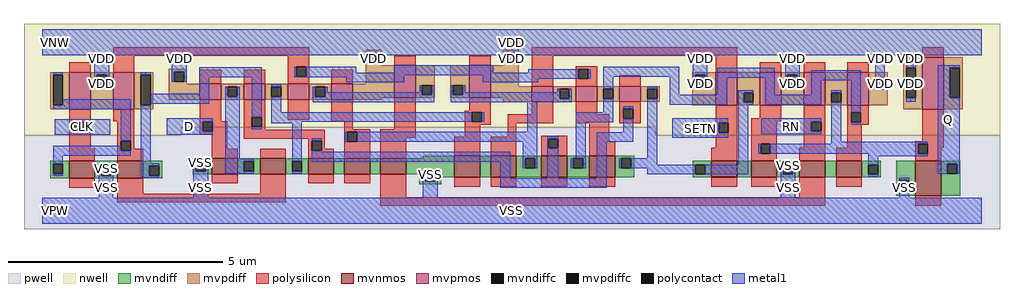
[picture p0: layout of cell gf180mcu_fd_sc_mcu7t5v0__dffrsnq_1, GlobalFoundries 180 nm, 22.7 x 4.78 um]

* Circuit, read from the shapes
.subckt gf180mcu_fd_sc_mcu7t5v0__dffrsnq_1 D RN SETN CLK Q VDD VNW VPW VSS
XM1 VSS CLK n1 VPW nfet_06v0 w=0.405u l=0.6u
XM2 n2 n1 VSS VPW nfet_06v0 w=0.405u l=0.6u
XM3 n3 D VSS VPW nfet_06v0 w=0.365u l=0.6u
XM4 n4 n1 n3 VPW nfet_06v0 w=0.365u l=0.6u
XM5 n5 n2 n4 VPW nfet_06v0 w=0.365u l=0.6u
XM6 n6 n7 n5 VPW nfet_06v0 w=0.365u l=0.6u
XM7 VSS RN n6 VPW nfet_06v0 w=0.365u l=0.6u
XM8 n8 n4 VSS VPW nfet_06v0 w=0.505u l=0.6u
XM9 n7 SETN n8 VPW nfet_06v0 w=0.505u l=0.6u
XM10 n9 n2 n7 VPW nfet_06v0 w=0.505u l=0.6u
XM11 n10 n1 n9 VPW nfet_06v0 w=0.505u l=0.6u
XM12 n11 SETN n10 VPW nfet_06v0 w=0.38u l=0.6u
XM13 VSS n12 n11 VPW nfet_06v0 w=0.38u l=0.6u
XM14 n13 RN VSS VPW nfet_06v0 w=0.38u l=0.6u
XM15 n12 n9 n13 VPW nfet_06v0 w=0.38u l=0.6u
XM16 Q n12 VSS VPW nfet_06v0 w=0.815u l=0.6u
XM17 VDD CLK n1 VNW pfet_06v0 w=0.865u l=0.5u
XM18 n2 n1 VDD VNW pfet_06v0 w=0.865u l=0.5u
XM19 n3 D VDD VNW pfet_06v0 w=0.365u l=0.5u
XM20 n4 n2 n3 VNW pfet_06v0 w=0.365u l=0.5u
XM21 n14 n1 n4 VNW pfet_06v0 w=0.365u l=0.5u
XM22 VDD n7 n14 VNW pfet_06v0 w=0.365u l=0.5u
XM23 n14 RN VDD VNW pfet_06v0 w=0.755u l=0.5u
XM24 VDD n4 n7 VNW pfet_06v0 w=0.755u l=0.5u
XM25 n7 SETN VDD VNW pfet_06v0 w=0.36u l=0.5u
XM26 n9 n1 n7 VNW pfet_06v0 w=0.36u l=0.5u
XM27 n10 n2 n9 VNW pfet_06v0 w=0.36u l=0.5u
XM28 n10 SETN VDD VNW pfet_06v0 w=0.77u l=0.5u
XM29 VDD n12 n10 VNW pfet_06v0 w=0.77u l=0.5u
XM30 n12 RN VDD VNW pfet_06v0 w=0.77u l=0.5u
XM31 VDD n9 n12 VNW pfet_06v0 w=0.77u l=0.5u
XM32 Q n12 VDD VNW pfet_06v0 w=1.215u l=0.5u
.ends

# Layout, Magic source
magic
tech gf180mcuD
magscale 1 10
<< nwell >>
rect -86 388 4454 870
rect -86 352 645 388
rect 2851 352 4454 388
<< pwell >>
rect 645 352 2851 388
rect -86 -86 4454 352
<< mvnmos >>
rect 124 151 244 232
rect 348 151 468 232
rect 788 171 908 244
rect 1012 171 1132 244
rect 1236 171 1356 244
rect 1404 171 1524 244
rect 1572 171 1692 244
rect 1916 156 2036 257
rect 2084 156 2204 257
rect 2320 156 2440 257
rect 2544 156 2664 257
rect 3112 156 3232 232
rect 3296 156 3416 232
rect 3520 156 3640 232
rect 3692 156 3812 232
rect 4060 69 4180 232
<< mvpmos >>
rect 124 472 224 645
rect 328 472 428 645
rect 732 517 832 590
rect 936 517 1036 590
rect 1140 517 1240 590
rect 1344 517 1444 590
rect 1636 526 1736 677
rect 1984 526 2084 677
rect 2276 508 2376 580
rect 2480 508 2580 580
rect 2684 508 2784 580
rect 3132 491 3232 645
rect 3336 491 3436 645
rect 3540 491 3640 645
rect 3744 491 3844 645
rect 4092 472 4192 715
<< mvndiff >>
rect 1771 244 1916 257
rect 36 219 124 232
rect 36 173 49 219
rect 95 173 124 219
rect 36 151 124 173
rect 244 210 348 232
rect 244 164 273 210
rect 319 164 348 210
rect 244 151 348 164
rect 468 210 556 232
rect 468 164 497 210
rect 543 164 556 210
rect 700 230 788 244
rect 700 184 713 230
rect 759 184 788 230
rect 700 171 788 184
rect 908 230 1012 244
rect 908 184 937 230
rect 983 184 1012 230
rect 908 171 1012 184
rect 1132 230 1236 244
rect 1132 184 1161 230
rect 1207 184 1236 230
rect 1132 171 1236 184
rect 1356 171 1404 244
rect 1524 171 1572 244
rect 1692 183 1916 244
rect 1692 171 1781 183
rect 468 151 556 164
rect 1752 137 1781 171
rect 1827 156 1916 183
rect 2036 156 2084 257
rect 2204 244 2320 257
rect 2204 198 2245 244
rect 2291 198 2320 244
rect 2204 156 2320 198
rect 2440 244 2544 257
rect 2440 198 2469 244
rect 2515 198 2544 244
rect 2440 156 2544 198
rect 2664 244 2752 257
rect 2664 198 2693 244
rect 2739 198 2752 244
rect 2664 156 2752 198
rect 3024 215 3112 232
rect 3024 169 3037 215
rect 3083 169 3112 215
rect 3024 156 3112 169
rect 3232 156 3296 232
rect 3416 215 3520 232
rect 3416 169 3445 215
rect 3491 169 3520 215
rect 3416 156 3520 169
rect 3640 156 3692 232
rect 3812 215 3900 232
rect 3812 169 3841 215
rect 3887 169 3900 215
rect 3812 156 3900 169
rect 1827 137 1856 156
rect 1752 124 1856 137
rect 3972 142 4060 232
rect 3972 96 3985 142
rect 4031 96 4060 142
rect 3972 69 4060 96
rect 4180 218 4268 232
rect 4180 172 4209 218
rect 4255 172 4268 218
rect 4180 69 4268 172
<< mvpdiff >>
rect 588 647 672 660
rect 36 632 124 645
rect 36 492 49 632
rect 95 492 124 632
rect 36 472 124 492
rect 224 632 328 645
rect 224 586 253 632
rect 299 586 328 632
rect 224 472 328 586
rect 428 632 516 645
rect 428 492 457 632
rect 503 492 516 632
rect 588 601 613 647
rect 659 601 672 647
rect 588 590 672 601
rect 1504 735 1576 748
rect 1504 689 1517 735
rect 1563 689 1576 735
rect 2144 735 2216 748
rect 1504 677 1576 689
rect 2144 689 2157 735
rect 2203 689 2216 735
rect 2144 677 2216 689
rect 1504 590 1636 677
rect 588 517 732 590
rect 832 576 936 590
rect 832 530 861 576
rect 907 530 936 576
rect 832 517 936 530
rect 1036 576 1140 590
rect 1036 530 1065 576
rect 1111 530 1140 576
rect 1036 517 1140 530
rect 1240 576 1344 590
rect 1240 530 1269 576
rect 1315 530 1344 576
rect 1240 517 1344 530
rect 1444 526 1636 590
rect 1736 585 1824 677
rect 1736 539 1765 585
rect 1811 539 1824 585
rect 1736 526 1824 539
rect 1896 585 1984 677
rect 1896 539 1909 585
rect 1955 539 1984 585
rect 1896 526 1984 539
rect 2084 580 2216 677
rect 4004 665 4092 715
rect 3023 632 3132 645
rect 3023 586 3036 632
rect 3082 586 3132 632
rect 2084 526 2276 580
rect 1444 517 1576 526
rect 428 472 516 492
rect 2144 508 2276 526
rect 2376 567 2480 580
rect 2376 521 2405 567
rect 2451 521 2480 567
rect 2376 508 2480 521
rect 2580 567 2684 580
rect 2580 521 2609 567
rect 2655 521 2684 567
rect 2580 508 2684 521
rect 2784 567 2872 580
rect 2784 521 2813 567
rect 2859 521 2872 567
rect 2784 508 2872 521
rect 3023 491 3132 586
rect 3232 550 3336 645
rect 3232 504 3261 550
rect 3307 504 3336 550
rect 3232 491 3336 504
rect 3436 632 3540 645
rect 3436 586 3465 632
rect 3511 586 3540 632
rect 3436 491 3540 586
rect 3640 550 3744 645
rect 3640 504 3669 550
rect 3715 504 3744 550
rect 3640 491 3744 504
rect 3844 619 3932 645
rect 3844 573 3873 619
rect 3919 573 3932 619
rect 3844 491 3932 573
rect 4004 525 4017 665
rect 4063 525 4092 665
rect 4004 472 4092 525
rect 4192 665 4280 715
rect 4192 525 4221 665
rect 4267 525 4280 665
rect 4192 472 4280 525
<< mvndiffc >>
rect 49 173 95 219
rect 273 164 319 210
rect 497 164 543 210
rect 713 184 759 230
rect 937 184 983 230
rect 1161 184 1207 230
rect 1781 137 1827 183
rect 2245 198 2291 244
rect 2469 198 2515 244
rect 2693 198 2739 244
rect 3037 169 3083 215
rect 3445 169 3491 215
rect 3841 169 3887 215
rect 3985 96 4031 142
rect 4209 172 4255 218
<< mvpdiffc >>
rect 49 492 95 632
rect 253 586 299 632
rect 457 492 503 632
rect 613 601 659 647
rect 1517 689 1563 735
rect 2157 689 2203 735
rect 861 530 907 576
rect 1065 530 1111 576
rect 1269 530 1315 576
rect 1765 539 1811 585
rect 1909 539 1955 585
rect 3036 586 3082 632
rect 2405 521 2451 567
rect 2609 521 2655 567
rect 2813 521 2859 567
rect 3261 504 3307 550
rect 3465 586 3511 632
rect 3669 504 3715 550
rect 3873 573 3919 619
rect 4017 525 4063 665
rect 4221 525 4267 665
<< polysilicon >>
rect 328 720 1240 760
rect 124 645 224 690
rect 328 645 428 720
rect 1140 669 1240 720
rect 732 590 832 656
rect 936 590 1036 656
rect 1140 623 1181 669
rect 1227 623 1240 669
rect 1636 677 1736 721
rect 1984 677 2084 721
rect 1140 590 1240 623
rect 1344 590 1444 656
rect 2276 720 3232 760
rect 2276 580 2376 720
rect 2480 659 2580 672
rect 2480 613 2493 659
rect 2539 613 2580 659
rect 3132 645 3232 720
rect 4092 715 4192 760
rect 3336 645 3436 690
rect 3540 645 3640 690
rect 3744 645 3844 690
rect 2480 580 2580 613
rect 2684 580 2784 630
rect 124 415 224 472
rect 328 416 428 472
rect 124 369 145 415
rect 191 369 224 415
rect 124 288 224 369
rect 348 326 428 416
rect 732 416 832 517
rect 936 436 1036 517
rect 732 415 860 416
rect 732 369 745 415
rect 791 369 860 415
rect 732 356 860 369
rect 124 232 244 288
rect 348 280 365 326
rect 411 288 428 326
rect 788 288 860 356
rect 936 390 973 436
rect 1019 390 1036 436
rect 1140 424 1240 517
rect 1344 416 1444 517
rect 936 376 1036 390
rect 1404 380 1444 416
rect 1636 380 1736 526
rect 1984 466 2084 526
rect 936 336 1312 376
rect 1236 326 1312 336
rect 411 280 468 288
rect 348 232 468 280
rect 788 244 908 288
rect 1012 244 1132 288
rect 1236 280 1253 326
rect 1299 288 1312 326
rect 1404 367 1524 380
rect 1404 321 1417 367
rect 1463 321 1524 367
rect 1299 280 1356 288
rect 1236 244 1356 280
rect 1404 244 1524 321
rect 1572 340 1736 380
rect 1964 459 2084 466
rect 1964 413 1997 459
rect 2043 413 2084 459
rect 2276 448 2376 508
rect 1964 400 2084 413
rect 2164 408 2376 448
rect 2480 448 2580 508
rect 2684 475 2784 508
rect 2480 408 2636 448
rect 1964 344 2036 400
rect 2164 344 2204 408
rect 1572 244 1692 340
rect 1916 257 2036 344
rect 2084 257 2204 344
rect 2320 336 2440 349
rect 2320 290 2352 336
rect 2398 290 2440 336
rect 2320 257 2440 290
rect 2544 321 2636 408
rect 2684 429 2701 475
rect 2747 429 2784 475
rect 2684 407 2784 429
rect 3132 409 3232 491
rect 3336 431 3436 491
rect 3132 363 3145 409
rect 3191 363 3232 409
rect 2544 257 2664 321
rect 3132 293 3232 363
rect 124 107 244 151
rect 348 79 468 151
rect 788 127 908 171
rect 1012 79 1132 171
rect 1236 127 1356 171
rect 1404 127 1524 171
rect 348 39 1132 79
rect 1572 64 1692 171
rect 3112 232 3232 293
rect 3296 416 3436 431
rect 3296 311 3416 416
rect 3296 265 3340 311
rect 3386 265 3416 311
rect 3540 415 3640 491
rect 3540 369 3577 415
rect 3623 369 3640 415
rect 3540 293 3640 369
rect 3744 458 3844 491
rect 3744 412 3761 458
rect 3807 412 3844 458
rect 3744 399 3844 412
rect 3744 293 3812 399
rect 4092 324 4192 472
rect 3296 232 3416 265
rect 3520 232 3640 293
rect 3692 232 3812 293
rect 4060 311 4192 324
rect 4060 265 4073 311
rect 4119 292 4192 311
rect 4119 265 4180 292
rect 4060 232 4180 265
rect 1916 112 2036 156
rect 2084 112 2204 156
rect 2320 112 2440 156
rect 2544 112 2664 156
rect 3112 112 3232 156
rect 3296 112 3416 156
rect 3520 64 3640 156
rect 3692 112 3812 156
rect 1572 24 3640 64
rect 4060 24 4180 69
<< polycontact >>
rect 1181 623 1227 669
rect 2493 613 2539 659
rect 145 369 191 415
rect 745 369 791 415
rect 365 280 411 326
rect 973 390 1019 436
rect 1253 280 1299 326
rect 1417 321 1463 367
rect 1997 413 2043 459
rect 2352 290 2398 336
rect 2701 429 2747 475
rect 3145 363 3191 409
rect 3340 265 3386 311
rect 3577 369 3623 415
rect 3761 412 3807 458
rect 4073 265 4119 311
<< metal1 >>
rect 0 735 4368 844
rect 0 724 1517 735
rect 49 632 95 645
rect 241 632 311 724
rect 602 647 670 724
rect 1506 689 1517 724
rect 1563 724 2157 735
rect 1563 689 1574 724
rect 2146 689 2157 724
rect 2203 724 4368 735
rect 2203 689 2214 724
rect 241 586 253 632
rect 299 586 311 632
rect 457 632 503 645
rect 95 492 411 518
rect 49 472 411 492
rect 56 415 315 426
rect 56 369 145 415
rect 191 369 315 415
rect 56 354 315 369
rect 365 326 411 472
rect 49 280 365 302
rect 49 256 411 280
rect 602 601 613 647
rect 659 601 670 647
rect 730 622 1019 668
rect 1170 623 1181 669
rect 1227 643 1460 669
rect 1636 643 2096 678
rect 2260 643 2493 659
rect 1227 631 2493 643
rect 1227 623 1682 631
rect 1170 622 1682 623
rect 730 545 776 622
rect 503 498 776 545
rect 850 530 861 576
rect 907 530 918 576
rect 49 219 95 256
rect 457 221 503 492
rect 578 415 792 430
rect 578 369 745 415
rect 791 369 792 415
rect 578 354 792 369
rect 850 241 918 530
rect 973 436 1019 622
rect 1414 597 1682 622
rect 2049 613 2493 631
rect 2539 613 2550 659
rect 2609 624 2963 671
rect 2049 597 2306 613
rect 1065 576 1111 588
rect 1065 459 1111 530
rect 1258 530 1269 576
rect 1315 551 1326 576
rect 1754 551 1765 585
rect 1315 539 1765 551
rect 1811 539 1822 585
rect 1315 530 1822 539
rect 1258 505 1822 530
rect 1898 539 1909 585
rect 1955 551 1966 585
rect 2609 567 2655 624
rect 2394 551 2405 567
rect 1955 539 2405 551
rect 1898 521 2405 539
rect 2451 521 2462 567
rect 1898 505 2462 521
rect 1065 413 1997 459
rect 2043 413 2054 459
rect 1065 408 1207 413
rect 973 379 1019 390
rect 850 230 983 241
rect 457 210 543 221
rect 49 162 95 173
rect 262 164 273 210
rect 319 164 330 210
rect 262 60 330 164
rect 457 164 497 210
rect 457 153 543 164
rect 702 184 713 230
rect 759 184 770 230
rect 702 60 770 184
rect 850 184 937 230
rect 850 173 983 184
rect 1161 230 1207 408
rect 2256 367 2302 505
rect 2609 459 2655 521
rect 2813 567 2859 578
rect 1253 326 1299 337
rect 1406 321 1417 367
rect 1463 321 2302 367
rect 2480 412 2655 459
rect 2701 475 2747 486
rect 1253 275 1299 280
rect 1253 229 2176 275
rect 1161 173 1207 184
rect 1770 137 1781 183
rect 1827 137 1838 183
rect 1770 60 1838 137
rect 2130 152 2176 229
rect 2234 244 2302 321
rect 2234 198 2245 244
rect 2291 198 2302 244
rect 2349 336 2400 347
rect 2349 290 2352 336
rect 2398 290 2400 336
rect 2349 152 2400 290
rect 2480 244 2526 412
rect 2701 366 2747 429
rect 2458 198 2469 244
rect 2515 198 2526 244
rect 2579 320 2747 366
rect 2579 152 2625 320
rect 2813 244 2859 521
rect 2917 540 2963 624
rect 3025 632 3093 724
rect 3025 586 3036 632
rect 3082 586 3093 632
rect 3139 618 3407 665
rect 3139 540 3185 618
rect 2917 493 3185 540
rect 3237 550 3307 561
rect 3237 504 3261 550
rect 3237 493 3307 504
rect 3361 540 3407 618
rect 3454 632 3522 724
rect 3454 586 3465 632
rect 3511 586 3522 632
rect 3577 607 3807 654
rect 3577 540 3623 607
rect 3361 493 3623 540
rect 3669 550 3715 561
rect 2930 409 3191 430
rect 2930 363 3145 409
rect 2930 340 3191 363
rect 2682 198 2693 244
rect 2739 215 2859 244
rect 3237 215 3283 493
rect 3343 415 3623 430
rect 3343 369 3577 415
rect 3343 357 3623 369
rect 3669 322 3715 504
rect 3761 458 3807 607
rect 3873 619 3919 724
rect 3873 562 3919 573
rect 4017 665 4063 724
rect 4017 506 4063 525
rect 4165 665 4267 676
rect 4165 525 4221 665
rect 3761 401 3807 412
rect 3669 311 4119 322
rect 3329 265 3340 311
rect 3386 265 4073 311
rect 3841 254 4119 265
rect 3841 215 3887 254
rect 2739 198 3037 215
rect 2813 169 3037 198
rect 3083 169 3283 215
rect 3434 169 3445 215
rect 3491 169 3502 215
rect 2130 106 2625 152
rect 3434 60 3502 169
rect 4165 218 4267 525
rect 4165 172 4209 218
rect 4255 172 4267 218
rect 3841 158 3887 169
rect 3985 142 4031 153
rect 3985 60 4031 96
rect 0 -60 4368 60
<< labels >>
flabel metal1 s 3343 357 3623 430 0 FreeSans 600 0 0 0 RN
port 2 nsew default input
flabel metal1 s 578 354 792 430 0 FreeSans 600 0 0 0 D
port 1 nsew default input
flabel metal1 s 4165 172 4267 676 0 FreeSans 600 0 0 0 Q
port 5 nsew default output
flabel metal1 s 56 354 315 426 0 FreeSans 600 0 0 0 CLK
port 4 nsew clock input
flabel metal1 s 702 215 770 230 0 FreeSans 600 0 0 0 VSS
port 9 nsew ground bidirectional abutment
flabel metal1 s 0 724 4368 844 0 FreeSans 600 0 0 0 VDD
port 6 nsew power bidirectional abutment
flabel metal1 s 2930 340 3191 430 0 FreeSans 600 0 0 0 SETN
port 3 nsew default input
flabel nwell s 10 734 110 834 0 FreeSans 400 0 0 0 VNW
port 7 nsew power bidirectional
flabel pwell s 10 -50 110 50 0 FreeSans 400 0 0 0 VPW
port 8 nsew ground bidirectional
rlabel metal1 s 4017 689 4063 724 1 VDD
port 6 nsew power bidirectional abutment
rlabel metal1 s 3873 689 3919 724 1 VDD
port 6 nsew power bidirectional abutment
rlabel metal1 s 3454 689 3522 724 1 VDD
port 6 nsew power bidirectional abutment
rlabel metal1 s 3025 689 3093 724 1 VDD
port 6 nsew power bidirectional abutment
rlabel metal1 s 2146 689 2214 724 1 VDD
port 6 nsew power bidirectional abutment
rlabel metal1 s 1506 689 1574 724 1 VDD
port 6 nsew power bidirectional abutment
rlabel metal1 s 602 689 670 724 1 VDD
port 6 nsew power bidirectional abutment
rlabel metal1 s 241 689 311 724 1 VDD
port 6 nsew power bidirectional abutment
rlabel metal1 s 4017 601 4063 689 1 VDD
port 6 nsew power bidirectional abutment
rlabel metal1 s 3873 601 3919 689 1 VDD
port 6 nsew power bidirectional abutment
rlabel metal1 s 3454 601 3522 689 1 VDD
port 6 nsew power bidirectional abutment
rlabel metal1 s 3025 601 3093 689 1 VDD
port 6 nsew power bidirectional abutment
rlabel metal1 s 602 601 670 689 1 VDD
port 6 nsew power bidirectional abutment
rlabel metal1 s 241 601 311 689 1 VDD
port 6 nsew power bidirectional abutment
rlabel metal1 s 4017 586 4063 601 1 VDD
port 6 nsew power bidirectional abutment
rlabel metal1 s 3873 586 3919 601 1 VDD
port 6 nsew power bidirectional abutment
rlabel metal1 s 3454 586 3522 601 1 VDD
port 6 nsew power bidirectional abutment
rlabel metal1 s 3025 586 3093 601 1 VDD
port 6 nsew power bidirectional abutment
rlabel metal1 s 241 586 311 601 1 VDD
port 6 nsew power bidirectional abutment
rlabel metal1 s 4017 562 4063 586 1 VDD
port 6 nsew power bidirectional abutment
rlabel metal1 s 3873 562 3919 586 1 VDD
port 6 nsew power bidirectional abutment
rlabel metal1 s 4017 506 4063 562 1 VDD
port 6 nsew power bidirectional abutment
rlabel metal1 s 3434 210 3502 215 1 VSS
port 9 nsew ground bidirectional abutment
rlabel metal1 s 702 210 770 215 1 VSS
port 9 nsew ground bidirectional abutment
rlabel metal1 s 3434 183 3502 210 1 VSS
port 9 nsew ground bidirectional abutment
rlabel metal1 s 702 183 770 210 1 VSS
port 9 nsew ground bidirectional abutment
rlabel metal1 s 262 183 330 210 1 VSS
port 9 nsew ground bidirectional abutment
rlabel metal1 s 3434 153 3502 183 1 VSS
port 9 nsew ground bidirectional abutment
rlabel metal1 s 1770 153 1838 183 1 VSS
port 9 nsew ground bidirectional abutment
rlabel metal1 s 702 153 770 183 1 VSS
port 9 nsew ground bidirectional abutment
rlabel metal1 s 262 153 330 183 1 VSS
port 9 nsew ground bidirectional abutment
rlabel metal1 s 3985 60 4031 153 1 VSS
port 9 nsew ground bidirectional abutment
rlabel metal1 s 3434 60 3502 153 1 VSS
port 9 nsew ground bidirectional abutment
rlabel metal1 s 1770 60 1838 153 1 VSS
port 9 nsew ground bidirectional abutment
rlabel metal1 s 702 60 770 153 1 VSS
port 9 nsew ground bidirectional abutment
rlabel metal1 s 262 60 330 153 1 VSS
port 9 nsew ground bidirectional abutment
rlabel metal1 s 0 -60 4368 60 1 VSS
port 9 nsew ground bidirectional abutment
<< properties >>
string FIXED_BBOX 0 0 4368 784
string GDS_END 1027682
string GDS_FILE $PDKPATH/libs.ref/gf180mcu_fd_sc_mcu7t5v0/gds/gf180mcu_fd_sc_mcu7t5v0.gds
string GDS_START 1017856
string LEFclass core
string LEFsite GF018hv5v_mcu_sc7
string LEFsymmetry X Y
<< end >>
